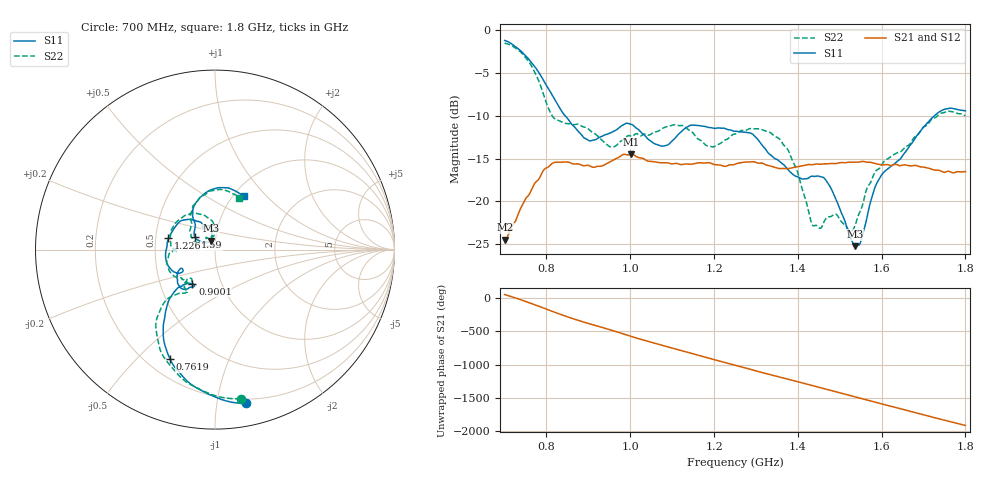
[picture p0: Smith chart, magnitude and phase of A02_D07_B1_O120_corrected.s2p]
! Created with skrf 1.9.0 (http://scikit-rf.org).
# Hz S RI R 50.0
!freq ReS11 ImS11 ReS21 ImS21 ReS12 ImS12 ReS22 ImS22
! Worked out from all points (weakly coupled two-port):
!   1601 points, 700 MHz to 1.8 GHz, reference 50 ohm
!   highest |S21| = -14.48 dB at 1.002 GHz (marker M1); lowest = -24.5 dB at 701.4 MHz (marker M2)
!   lowest |S11| = -25.2 dB at 1.537 GHz (marker M3), VSWR 1.12, Z = 47.5 + j4.7 ohm
!   |S11| at or under -10 dB: 844.9 MHz to 1.726 GHz (880.7 MHz wide, 68.5 % of centre)
!   |S22| runs from -23.5 to -1.5 dB; largest |S21 - S12| = 0.0037
!   S11 on the Smith chart (normalised r, x): 700 MHz: 0.17, -1.21; 761.9 MHz: 0.29, -0.63; 900.1 MHz: 0.73, -0.29; 1.226 GHz: 0.58, +0.08; 1.59 GHz: 0.79, +0.11; 1.8 GHz: 1.12, +0.75
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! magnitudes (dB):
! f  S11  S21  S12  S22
! 700 MHz  -1.2  -24.5  -24.3  -1.5
! 701.4 MHz  -1.2  -24.5  -24.1  -1.5
! 761.9 MHz  -3.6  -18.9  -18.8  -4.0
! 816.2 MHz  -7.8  -15.5  -15.6  -10.2
! 883.6 MHz  -12.2  -15.8  -15.7  -11.2
! 900.1 MHz  -12.9  -15.8  -15.8  -11.5
! 954.4 MHz  -12.0  -15.3  -15.3  -13.6
! 1.002 GHz  -11.0  -14.5  -14.6  -12.4
! 1.067 GHz  -13.4  -15.5  -15.4  -11.8
! 1.144 GHz  -11.1  -15.7  -15.7  -11.8
! 1.226 GHz  -11.5  -15.9  -15.9  -12.8
! 1.25 GHz  -11.8  -15.7  -15.6  -12.1
! 1.357 GHz  -15.4  -16.2  -16.1  -12.8
! 1.396 GHz  -17.1  -16.0  -16.0  -16.2
! 1.434 GHz  -17.0  -15.7  -15.7  -22.7
! 1.473 GHz  -18.0  -15.6  -15.6  -21.8
! 1.537 GHz  -25.2  -15.4  -15.4  -22.8
! 1.55 GHz  -24.6  -15.3  -15.4  -21.0
! 1.59 GHz  -17.7  -15.6  -15.6  -16.3
! 1.617 GHz  -16.1  -15.7  -15.7  -14.9
! 1.733 GHz  -9.7  -16.4  -16.4  -10.0
! 1.8 GHz  -9.4  -16.5  -16.5  -10.0
